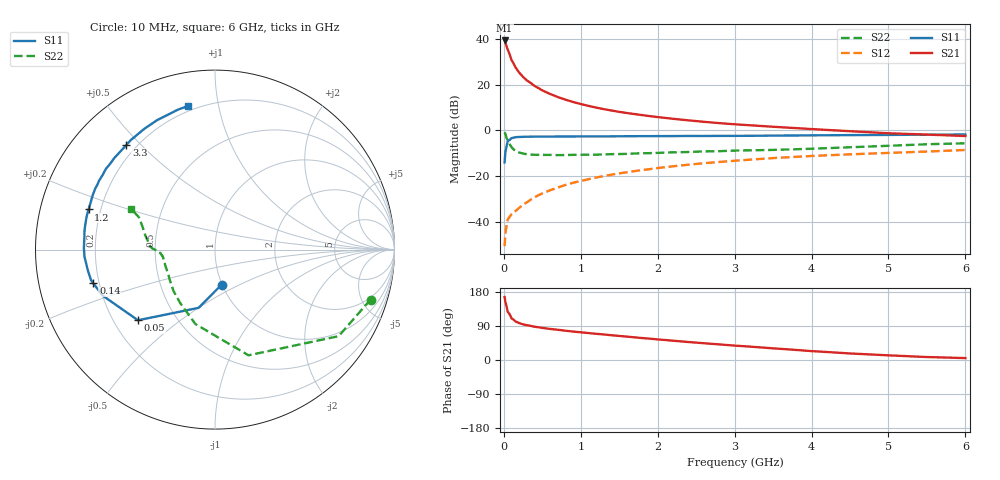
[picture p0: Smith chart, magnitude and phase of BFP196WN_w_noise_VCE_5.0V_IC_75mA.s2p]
! Infineon Technologies  Discrete & RF Semiconductors
! BFP196WN
! VCE =  5.0 V,  IC =  75 mA
! Common Emitter S-Parameters:  Jan 2017
# GHz  S  MA  R  50
!  f  S11  S21  S12  S22
! GHz  MAG  ANG  MAG  ANG  MAG  ANG  MAG  ANG
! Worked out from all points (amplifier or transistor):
!   77 points, 10 MHz to 6 GHz, reference 50 ohm
!   highest |S21| = 39.4 dB at 10 MHz (marker M1)
!   |S21| within 3 dB of that: start of sweep to 39.62 MHz
!   unconditionally stable (mu >= 1): 528.1 MHz to 2.644 GHz
!   at 130 MHz: K = 0.65, MSG = 32.5 dB, |S12| = -35.9 dB
!   at 2.2 GHz: K = 1.02, MAG = 9.7 dB, |S12| = -15.7 dB
!   at 6 GHz: K = 0.92, MSG = 3.1 dB, |S12| = -8.6 dB
!   lowest NFmin = 1.53 dB at 450 MHz
!   S11 on the Smith chart (normalised r, x): 10 MHz: 0.99, -0.40; 50 MHz: 0.30, -0.36; 140 MHz: 0.18, -0.13; 1.2 GHz: 0.15, +0.15; 3.3 GHz: 0.16, +0.45; 6 GHz: 0.17, +0.82
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0.01  0.1989 -79.4  93.76 166.1  0.0029 76.7  0.9106 -17.8
0.02  0.337 -105.7  84.36 152.6  0.0055 76.2  0.8408 -35.0
0.05  0.5827 -137.5  59.37 127.1  0.011 53.4  0.6179 -72.4
0.1  0.6774 -157.9  34.92 109.7  0.0145 50.3  0.429 -104.7
0.14  0.7033 -164.5  26.4 104.0  0.0165 53.1  0.367 -118.7
0.15  0.7112 -166.1  24.33 102.0  0.017 53.7  0.3556 -122.9
0.2  0.7184 -171.1  18.47 97.3  0.0201 58.5  0.3273 -134.6
0.25  0.7228 -174.3  14.89 94.0  0.0237 60.8  0.3111 -142.0
0.3  0.7282 -176.8  12.47 91.7  0.0265 63.7  0.2999 -148.1
0.4  0.7306 179.4  9.421 87.7  0.0343 67.6  0.2923 -155.2
0.5  0.7303 176.5  7.543 84.7  0.0416 69.2  0.291 -160.2
0.7  0.7346 171.9  5.398 79.8  0.0558 71.2  0.2872 -166.4
0.9  0.7367 167.6  4.198 75.1  0.0712 70.6  0.2912 -169.6
1.1  0.7389 164.2  3.448 71.1  0.0851 70.4  0.2937 -172.5
1.2  0.7392 162.4  3.164 69.1  0.0928 69.6  0.2937 -173.3
1.6  0.7461 155.8  2.405 61.7  0.1209 67.6  0.3058 -176.4
2.1  0.7512 147.9  1.878 52.7  0.1566 63.9  0.3263 -179.0
3.1  0.7602 133.1  1.329 36.7  0.2222 55.3  0.3637 176.4
3.3  0.7641 130.3  1.264 33.8  0.2347 53.6  0.3686 175.0
4.1  0.7813 119.0  1.048 22.3  0.2796 46.5  0.4022 167.0
5.1  0.798 108.2  0.854 11.4  0.3257 38.8  0.4676 156.6
6  0.8142 100.5  0.753 5.0  0.3726 32.8  0.522 154.4
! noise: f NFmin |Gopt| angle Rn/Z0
0.45  1.53  0.57  -176  0.05
0.9  1.66  0.59  -169  0.06
1.9  2.6  0.7  -147  0.2
2.4  3.41  0.71  -138  0.33
